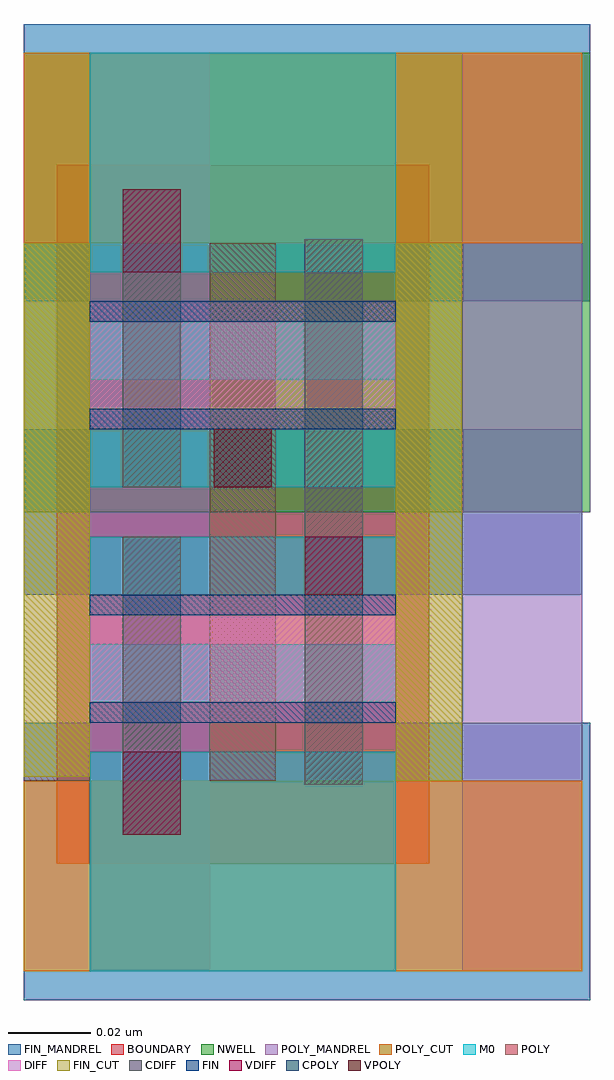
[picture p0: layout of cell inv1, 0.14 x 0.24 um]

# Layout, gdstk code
import gdstk
lib = gdstk.Library(unit=1e-6, precision=1e-11)
def R(c, l, rs):  # rectangles x0, y0, x1, y1
    for r in rs: c.add(gdstk.rectangle(r[:2], r[2:], *l))
def A(c, l, x, y, w, h, nx, ny, dx, dy):  # array of equal rectangles
    R(c, l, [(x+i*dx, y+j*dy, x+i*dx+w, y+j*dy+h) for i in range(nx) for j in range(ny)])
BOUNDARY = (1, 0)
NWELL = (5, 1)
DIFF = (7, 7)
FIN = (7, 8)
FIN_MANDREL = (7, 10)
FIN_CUT = (7, 50)
POLY = (9, 7)
POLY_MANDREL = (9, 10)
POLY_CUT = (9, 50)
CPOLY = (9, 100)
VPOLY = (9, 135)
VDIFF = (10, 0)
CDIFF = (10, 1)
M0 = (30, 0)

inv1 = lib.new_cell('inv1')
R(inv1, BOUNDARY, [(-0.008,0,0.082,0.169)])
R(inv1, NWELL, [(-0.016,0.085,0.121,0.196)])
R(inv1, DIFF, [(0,0.034,0.074,0.065), (0,0.105,0.074,0.136)])
R(inv1, FIN, [(0,0.034,0.074,0.039), (0,0.06,0.074,0.065), (0,0.105,0.074,0.11), (0,0.131,0.074,0.136)])
R(inv1, FIN_MANDREL, [(-0.016,-0.033,0.121,0.034), (-0.016,0.065,0.119,0.105), (-0.016,0.136,0.121,0.203)])
R(inv1, FIN_CUT, [(0.074,0.02,0.09,0.15), (-0.016,0.021,0,0.15)])
A(inv1, POLY, -0.016, 0.02, 0.016, 0.13, 3, 1, 0.045, 0)
R(inv1, POLY_MANDREL, [(0,-0.026,0.029,0.196), (0.09,-0.026,0.119,0.196)])
R(inv1, POLY_CUT, [(-0.016,-0.026,0.119,0.02), (-0.016,0.15,0.119,0.196)])
R(inv1, CPOLY, [(0.03,0.091,0.044,0.105)])
R(inv1, VPOLY, [(0.03,0.091,0.044,0.105)])
R(inv1, VDIFF, [(0.008,0.007,0.022,0.027), (0.052,0.065,0.066,0.079), (0.008,0.143,0.022,0.163)])
R(inv1, CDIFF, [(0.008,0.007,0.022,0.079), (0.052,0.019,0.066,0.151), (0.008,0.091,0.022,0.163)])
A(inv1, M0, 0, 0.039, 0.074, 0.014, 1, 4, 0, 0.026)
R(inv1, M0, [(0,-0.026,0.074,0.027), (0,0.143,0.074,0.196)])

lib.write_gds('inv1.gds')
